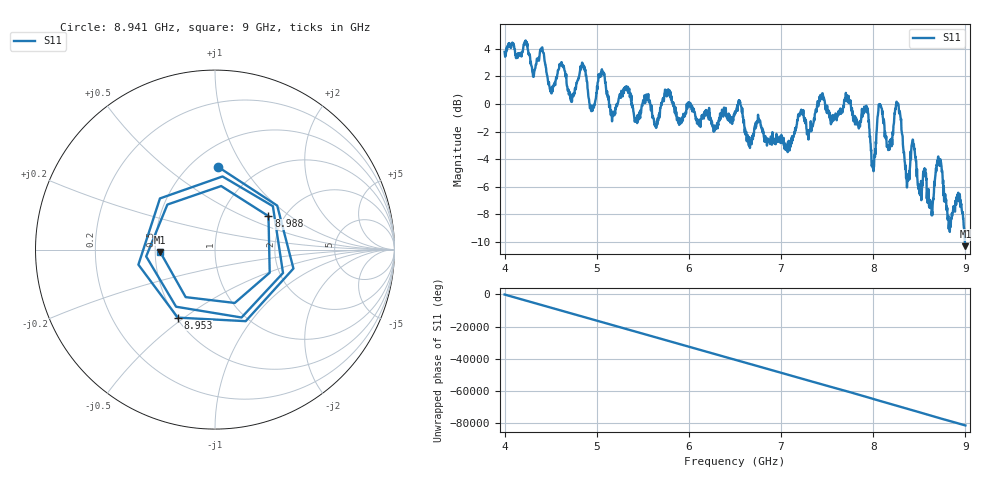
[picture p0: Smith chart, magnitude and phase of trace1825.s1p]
! Created with skrf 1.8.0 (http://scikit-rf.org).
# Hz S RI R 50.0
!freq ReS11 ImS11
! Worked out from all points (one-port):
!   1601 points, 4 GHz to 9 GHz, reference 50 ohm
!   lowest |S11| = -10.3 dB at 9 GHz (marker M1), VSWR 1.88, Z = 26.6 - j0.779 ohm
!   |S11| at or under -10 dB: 8.994411 GHz to end of sweep
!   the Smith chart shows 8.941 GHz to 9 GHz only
!   S11 on the Smith chart (normalised r, x): 8.941 GHz: 0.66, +0.78; 8.953 GHz: 0.51, -0.47; 8.988 GHz: 1.66, +0.71; 9 GHz: 0.53, -0.02
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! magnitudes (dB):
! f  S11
! 4 GHz  3.8
! 4.406 GHz  4.1
! 4.509 GHz  0.8
! 4.625 GHz  2.8
! 4.728 GHz  0.4
! 4.856 GHz  2.8
! 4.944 GHz  -0.5
! 5.056 GHz  2.5
! 5.166 GHz  -1.3
! 5.25 GHz  0.7
! 5.875 GHz  -0.9
! 6.5 GHz  -0.5
! 7.125 GHz  -2.6
! 7.75 GHz  0.1
! 7.928 GHz  -0.3
! 8 GHz  -4.4
! 8.069 GHz  0.0
! 8.169 GHz  -3.3
! 8.266 GHz  0.1
! 8.375 GHz  -5.3
! 8.431 GHz  -2.6
! 8.622 GHz  -7.4
! 8.712 GHz  -4.1
! 8.825 GHz  -8.6
! 8.941 GHz  -6.7
! 8.953 GHz  -7.3
! 8.988 GHz  -9.1
! 9 GHz  -10.3
